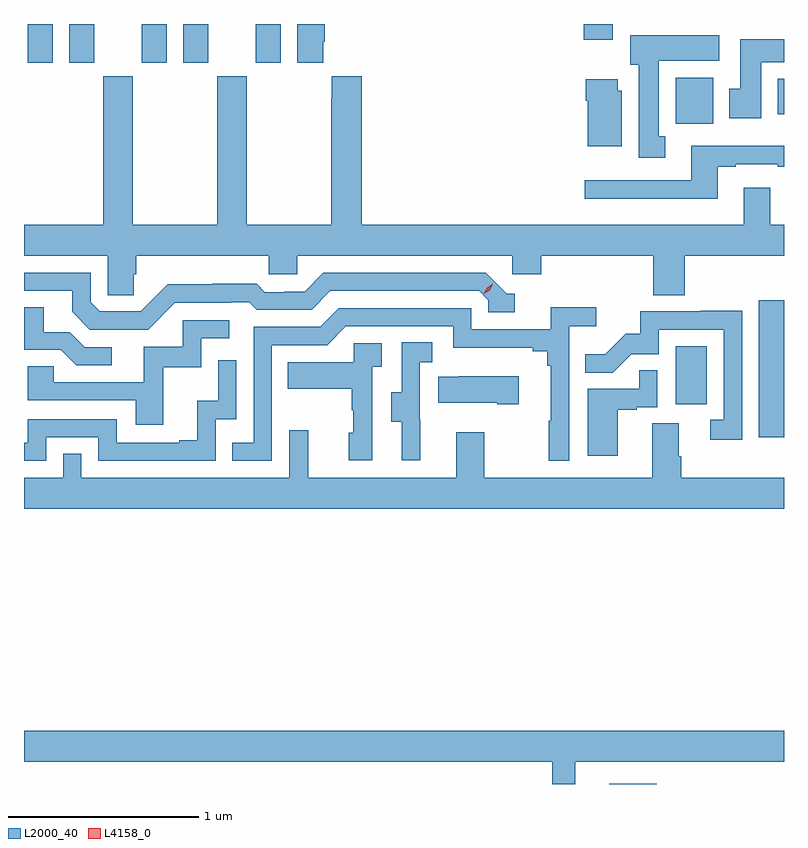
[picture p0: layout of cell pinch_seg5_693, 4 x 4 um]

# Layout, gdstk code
import gdstk
lib = gdstk.Library(unit=1e-6, precision=1e-09)
def R(c, l, rs):  # rectangles x0, y0, x1, y1
    for r in rs: c.add(gdstk.rectangle(r[:2], r[2:], *l))
def P(c, l, *ps):  # polygons
    for p in ps: c.add(gdstk.Polygon(p, *l))
L2000_40 = (2000, 40)
L4158_0 = (4158, 0)

pinch_seg5_693 = lib.new_cell('pinch_seg5_693')
R(pinch_seg5_693, L2000_40, [(1128.713,844.656,1128.964,844.657), (1129.502,846.48,1129.634,847.201), (1129.064,846.654,1129.228,846.961), (1129.064,848.132,1129.261,848.374), (1129.601,848.18,1129.634,848.368), (1125.653,848.451,1125.784,848.656), (1125.872,848.451,1126.003,848.656), (1126.253,848.451,1126.384,848.656), (1126.472,848.451,1126.603,848.656), (1126.853,848.451,1126.984,848.656), (1128.581,848.574,1128.733,848.656)])
P(pinch_seg5_693, L2000_40, [(1127.209,848.563),(1127.216,848.563),(1127.216,848.656),(1127.072,848.656),(1127.072,848.451),(1127.209,848.451)],
  [(1129.009,848.066),(1128.976,848.066),(1128.976,848.462),(1129.294,848.462),(1129.294,848.596),(1128.824,848.596),(1128.824,848.442),(1128.869,848.442),(1128.869,847.953),(1129.009,847.953)],
  [(1129.513,848.456),(1129.634,848.456),(1129.634,848.575),(1129.403,848.575),(1129.403,848.316),(1129.346,848.316),(1129.346,848.16),(1129.513,848.16)],
  [(1126.806,848.38),(1126.651,848.38),(1126.651,847.6),(1126.206,847.6),(1126.206,848.38),(1126.051,848.38),(1126.051,847.6),(1125.634,847.6),(1125.634,847.436),(1126.074,847.436),(1126.074,847.228),(1126.211,847.228),(1126.211,847.338),(1126.226,847.338),(1126.226,847.436),(1126.923,847.436),(1126.923,847.338),(1127.073,847.338),(1127.073,847.436),(1128.204,847.436),(1128.204,847.338),(1128.356,847.338),(1128.356,847.436),(1128.947,847.436),(1128.947,847.228),(1129.112,847.228),(1129.112,847.436),(1129.634,847.436),(1129.634,847.6),(1129.561,847.6),(1129.561,847.795),(1129.421,847.795),(1129.421,847.6),(1127.411,847.6),(1127.411,848.38),(1127.255,848.38),(1127.255,848.267),(1127.251,848.267),(1127.251,847.6),(1126.806,847.6)],
  [(1128.781,848.304),(1128.76,848.304),(1128.76,848.365),(1128.59,848.365),(1128.59,848.252),(1128.602,848.252),(1128.602,848.012),(1128.781,848.012)],
  [(1129.285,847.905),(1129.381,847.905),(1129.381,847.917),(1129.601,847.917),(1129.601,847.905),(1129.634,847.905),(1129.634,848.014),(1129.145,848.014),(1129.145,847.833),(1128.585,847.833),(1128.585,847.736),(1129.285,847.736)],
  [(1126.428,847.188),(1126.721,847.188),(1126.721,847.191),(1126.82,847.191),(1126.859,847.152),(1127.148,847.152),(1127.247,847.251),(1128.03,847.251),(1128.078,847.203),(1128.078,847.14),(1128.217,847.14),(1128.217,847.236),(1128.174,847.236),(1128.063,847.347),(1127.21,847.347),(1127.111,847.248),(1127.004,847.248),(1127.004,847.245),(1126.901,847.245),(1126.859,847.288),(1126.626,847.288),(1126.626,847.285),(1126.39,847.285),(1126.248,847.143),(1126.032,847.143),(1125.984,847.191),(1125.984,847.347),(1125.634,847.347),(1125.634,847.251),(1125.887,847.251),(1125.887,847.141),(1125.981,847.047),(1126.287,847.047)],
  [(1126.938,846.966),(1127.229,846.966),(1127.328,847.065),(1127.892,847.065),(1127.892,846.953),(1128.311,846.953),(1128.311,846.934),(1128.388,846.934),(1128.388,846.857),(1128.407,846.857),(1128.407,846.569),(1128.396,846.569),(1128.396,846.357),(1128.504,846.357),(1128.504,847.064),(1128.646,847.064),(1128.646,847.166),(1128.407,847.166),(1128.407,847.05),(1127.988,847.05),(1127.988,847.161),(1127.291,847.161),(1127.192,847.062),(1126.842,847.062),(1126.842,846.453),(1126.729,846.453),(1126.729,846.357),(1126.938,846.357)],
  [(1126.096,846.954),(1125.954,846.954),(1125.874,847.034),(1125.739,847.034),(1125.739,847.166),(1125.634,847.166),(1125.634,846.942),(1125.827,846.942),(1125.908,846.861),(1126.096,846.861)],
  [(1129.413,847.148),(1129.195,847.148),(1129.195,847.143),(1128.877,847.143),(1128.877,847.026),(1128.8,847.026),(1128.693,846.919),(1128.589,846.919),(1128.589,846.82),(1128.733,846.82),(1128.831,846.918),(1128.975,846.918),(1128.975,847.047),(1129.317,847.047),(1129.317,846.573),(1129.245,846.573),(1129.245,846.468),(1129.413,846.468)],
  [(1126.367,846.849),(1126.566,846.849),(1126.566,847.002),(1126.714,847.002),(1126.714,847.098),(1126.47,847.098),(1126.47,846.957),(1126.265,846.957),(1126.265,846.771),(1125.791,846.771),(1125.791,846.855),(1125.654,846.855),(1125.654,846.675),(1126.223,846.675),(1126.223,846.546),(1126.367,846.546)],
  [(1127.72,846.573),(1127.718,846.573),(1127.718,846.877),(1127.782,846.877),(1127.782,846.98),(1127.622,846.98),(1127.622,846.717),(1127.567,846.717),(1127.567,846.562),(1127.621,846.562),(1127.621,846.36),(1127.72,846.36)],
  [(1127.466,846.851),(1127.518,846.851),(1127.518,846.975),(1127.37,846.975),(1127.37,846.877),(1127.023,846.877),(1127.023,846.737),(1127.358,846.737),(1127.358,846.623),(1127.368,846.623),(1127.368,846.504),(1127.342,846.504),(1127.342,846.36),(1127.466,846.36)],
  [(1125.75,846.48),(1126.026,846.48),(1126.026,846.357),(1126.644,846.357),(1126.644,846.576),(1126.752,846.576),(1126.752,846.886),(1126.656,846.886),(1126.656,846.674),(1126.547,846.674),(1126.547,846.466),(1126.451,846.466),(1126.451,846.453),(1126.122,846.453),(1126.122,846.576),(1125.654,846.576),(1125.654,846.453),(1125.634,846.453),(1125.634,846.357),(1125.75,846.357)],
  [(1128.76,846.627),(1128.86,846.627),(1128.86,846.639),(1128.966,846.639),(1128.966,846.833),(1128.871,846.833),(1128.871,846.735),(1128.602,846.735),(1128.602,846.384),(1128.76,846.384)],
  [(1128.238,846.802),(1127.923,846.802),(1127.923,846.799),(1127.815,846.799),(1127.815,846.662),(1128.125,846.662),(1128.125,846.655),(1128.238,846.655)],
  [(1129.634,846.268),(1129.094,846.268),(1129.094,846.38),(1129.081,846.38),(1129.081,846.554),(1128.941,846.554),(1128.941,846.268),(1128.057,846.268),(1128.057,846.508),(1127.909,846.508),(1127.909,846.268),(1127.129,846.268),(1127.129,846.517),(1127.031,846.517),(1127.031,846.268),(1125.936,846.268),(1125.936,846.395),(1125.84,846.395),(1125.84,846.268),(1125.634,846.268),(1125.634,846.104),(1129.634,846.104)],
  [(1128.535,844.772),(1129.634,844.772),(1129.634,844.936),(1125.634,844.936),(1125.634,844.772),(1128.414,844.772),(1128.414,844.656),(1128.535,844.656)])
P(pinch_seg5_693, L4158_0, [(1128.054,847.236),(1128.054,847.237),(1128.071,847.269),(1128.101,847.289),(1128.102,847.289),(1128.102,847.288),(1128.085,847.256),(1128.055,847.236)])

lib.write_gds('pinch_seg5_693.gds')
